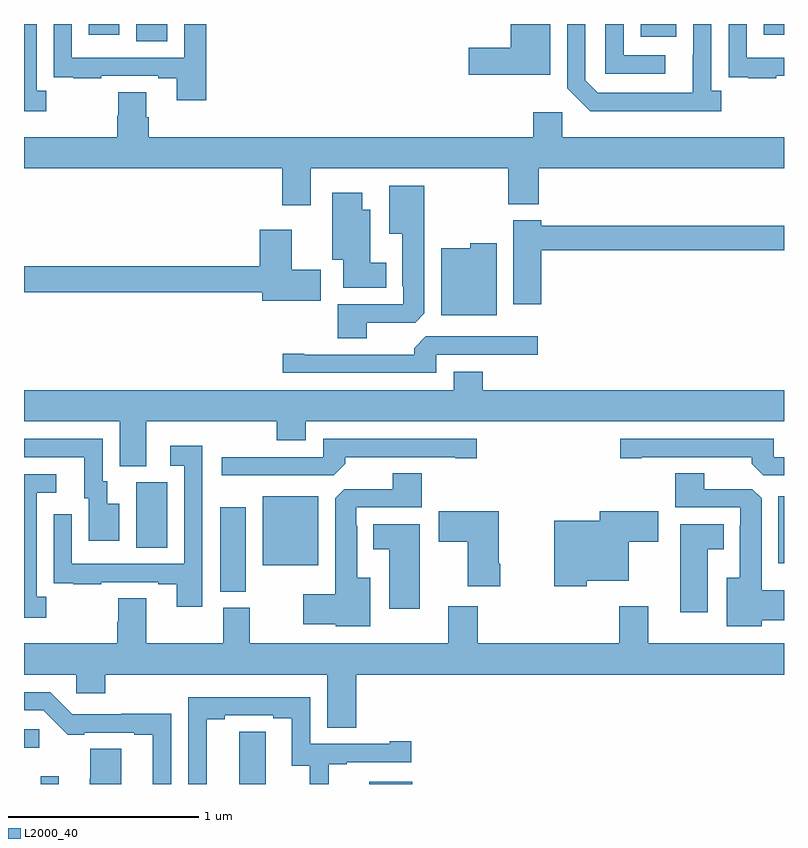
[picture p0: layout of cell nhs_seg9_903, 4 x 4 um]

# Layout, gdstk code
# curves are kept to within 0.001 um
import gdstk
lib = gdstk.Library(unit=1e-6, precision=1e-09)
def R(c, l, rs):  # rectangles x0, y0, x1, y1
    for r in rs: c.add(gdstk.rectangle(r[:2], r[2:], *l))
def P(c, l, *ps):  # polygons
    for p in ps: c.add(gdstk.Polygon(p, *l))
L2000_40 = (2000, 40)

nhs_seg9_903 = lib.new_cell('nhs_seg9_903')
R(nhs_seg9_903, L2000_40, [(159.087,1206.5,159.184,1206.541), (160.817,1206.5,161.044,1206.511), (159,1206.692,159.079,1206.789), (160.034,1207.513,160.168,1207.957), (160.256,1207.652,160.549,1208.014), (162.971,1207.661,163,1208.014), (159.59,1207.744,159.754,1208.088), (159.59,1210.408,159.754,1210.5), (162.245,1210.433,162.433,1210.5), (159.341,1210.443,159.502,1210.5), (162.893,1210.443,163,1210.5)])
P(nhs_seg9_903, L2000_40, [(162.959,1210.227),(163,1210.227),(163,1210.323),(162.804,1210.323),(162.804,1210.5),(162.708,1210.5),(162.708,1210.33),(162.709,1210.33),(162.709,1210.221),(162.811,1210.221),(162.811,1210.215),(162.959,1210.215)],
  [(159.959,1210.5),(159.843,1210.5),(159.843,1210.323),(159.252,1210.323),(159.252,1210.5),(159.156,1210.5),(159.156,1210.33),(159.157,1210.33),(159.157,1210.221),(159.259,1210.221),(159.259,1210.215),(159.407,1210.215),(159.407,1210.227),(159.707,1210.227),(159.707,1210.215),(159.803,1210.215),(159.803,1210.098),(159.959,1210.098)],
  [(159.118,1210.15),(159.066,1210.15),(159.066,1210.5),(159,1210.5),(159,1210.04),(159.118,1210.04)],
  [(162.376,1210.335),(162.156,1210.335),(162.156,1210.5),(162.06,1210.5),(162.06,1210.239),(162.376,1210.239)],
  [(161.77,1210.498),(161.681,1210.498),(161.681,1210.5),(161.563,1210.5),(161.563,1210.376),(161.34,1210.376),(161.34,1210.234),(161.77,1210.234)],
  [(162.67,1210.15),(162.618,1210.15),(162.618,1210.5),(162.522,1210.5),(162.521,1210.137),(162.021,1210.137),(161.955,1210.203),(161.955,1210.5),(161.859,1210.5),(161.859,1210.161),(161.98,1210.04),(162.67,1210.04)],
  [(160.51,1209.74),(161.548,1209.74),(161.548,1209.551),(161.708,1209.551),(161.708,1209.74),(163,1209.74),(163,1209.904),(161.832,1209.904),(161.832,1210.036),(161.681,1210.036),(161.681,1209.904),(159.656,1209.904),(159.656,1210.01),(159.643,1210.01),(159.643,1210.142),(159.496,1210.142),(159.496,1210.017),(159.491,1210.017),(159.491,1209.904),(159,1209.904),(159,1209.74),(160.358,1209.74),(160.358,1209.546),(160.51,1209.546)],
  [(160.804,1208.928),(161.058,1208.928),(161.107,1208.977),(161.107,1209.649),(160.922,1209.649),(160.922,1209.395),(160.991,1209.395),(160.991,1209.121),(160.995,1209.121),(160.995,1209.024),(160.652,1209.024),(160.652,1208.845),(160.804,1208.845)],
  [(160.906,1209.244),(160.822,1209.244),(160.822,1209.523),(160.78,1209.523),(160.78,1209.613),(160.622,1209.613),(160.622,1209.26),(160.679,1209.26),(160.679,1209.113),(160.906,1209.113)],
  [(161.723,1209.31),(163,1209.31),(163,1209.439),(161.723,1209.439),(161.723,1209.466),(161.576,1209.466),(161.576,1209.024),(161.723,1209.024)],
  [(160.561,1209.207),(160.408,1209.207),(160.408,1209.418),(160.241,1209.418),(160.241,1209.224),(159,1209.224),(159,1209.088),(160.253,1209.088),(160.253,1209.044),(160.561,1209.044)],
  [(161.488,1209.346),(161.349,1209.346),(161.349,1209.319),(161.195,1209.319),(161.195,1208.966),(161.488,1208.966)],
  [(161.169,1208.76),(161.704,1208.76),(161.704,1208.856),(161.115,1208.856),(161.054,1208.794),(161.054,1208.76),(160.474,1208.76),(160.474,1208.765),(160.362,1208.765),(160.362,1208.664),(161.169,1208.664)],
  [(161.261,1208.671),(161.261,1208.572),(159,1208.572),(159,1208.408),(159.503,1208.408),(159.503,1208.173),(159.643,1208.173),(159.643,1208.408),(160.331,1208.408),(160.331,1208.309),(160.483,1208.309),(160.483,1208.408),(163,1208.408),(163,1208.572),(161.414,1208.572),(161.414,1208.671)],
  [(159.502,1207.975),(159.439,1207.975),(159.439,1208.094),(159.414,1208.094),(159.414,1208.316),(159,1208.316),(159,1208.22),(159.317,1208.22),(159.317,1208.004),(159.341,1208.004),(159.341,1207.779),(159.502,1207.779)],
  [(163,1208.22),(162.945,1208.22),(162.945,1208.316),(162.138,1208.316),(162.138,1208.215),(162.25,1208.215),(162.25,1208.22),(162.83,1208.22),(162.83,1208.186),(162.891,1208.124),(163,1208.124)],
  [(160.691,1208.186),(160.691,1208.22),(161.27,1208.22),(161.27,1208.215),(161.383,1208.215),(161.383,1208.316),(160.575,1208.316),(160.575,1208.22),(160.041,1208.22),(160.041,1208.124),(160.629,1208.124)],
  [(159.939,1208.281),(159.771,1208.281),(159.771,1208.175),(159.843,1208.175),(159.843,1207.659),(159.252,1207.659),(159.252,1207.921),(159.156,1207.921),(159.156,1207.666),(159.157,1207.666),(159.157,1207.557),(159.259,1207.557),(159.259,1207.551),(159.407,1207.551),(159.407,1207.563),(159.707,1207.563),(159.707,1207.551),(159.803,1207.551),(159.803,1207.434),(159.939,1207.434)],
  [(160.822,1207.585),(160.753,1207.585),(160.753,1207.859),(160.749,1207.859),(160.749,1207.956),(161.093,1207.956),(161.093,1208.135),(160.94,1208.135),(160.94,1208.052),(160.686,1208.052),(160.637,1208.003),(160.637,1207.498),(160.47,1207.498),(160.47,1207.34),(160.641,1207.34),(160.641,1207.331),(160.822,1207.331)],
  [(162.883,1207.361),(163,1207.361),(163,1207.519),(162.883,1207.519),(162.883,1208.003),(162.834,1208.052),(162.58,1208.052),(162.58,1208.135),(162.428,1208.135),(162.428,1207.956),(162.771,1207.956),(162.771,1207.859),(162.767,1207.859),(162.767,1207.585),(162.698,1207.585),(162.698,1207.331),(162.883,1207.331)],
  [(159.118,1207.486),(159.066,1207.486),(159.066,1208.034),(159.169,1208.034),(159.169,1208.13),(159,1208.13),(159,1207.376),(159.118,1207.376)],
  [(161.963,1207.571),(162.184,1207.571),(162.184,1207.774),(162.337,1207.774),(162.337,1207.936),(162.029,1207.936),(162.029,1207.885),(161.792,1207.885),(161.792,1207.541),(161.963,1207.541)],
  [(161.506,1207.659),(161.499,1207.659),(161.499,1207.936),(161.184,1207.936),(161.184,1207.774),(161.336,1207.774),(161.336,1207.541),(161.506,1207.541)],
  [(161.083,1207.867),(160.838,1207.867),(160.838,1207.736),(160.922,1207.736),(160.922,1207.422),(161.083,1207.422)],
  [(162.598,1207.736),(162.682,1207.736),(162.682,1207.867),(162.455,1207.867),(162.455,1207.404),(162.598,1207.404)],
  [(160.748,1207.076),(163,1207.076),(163,1207.24),(162.286,1207.24),(162.286,1207.435),(162.134,1207.435),(162.134,1207.24),(161.387,1207.24),(161.387,1207.435),(161.234,1207.435),(161.234,1207.24),(160.189,1207.24),(160.189,1207.428),(160.049,1207.428),(160.049,1207.24),(159.643,1207.24),(159.643,1207.478),(159.496,1207.478),(159.496,1207.353),(159.491,1207.353),(159.491,1207.24),(159,1207.24),(159,1207.076),(159.276,1207.076),(159.276,1206.978),(159.428,1206.978),(159.428,1207.076),(160.595,1207.076),(160.595,1206.796),(160.748,1206.796)],
  [(159.774,1206.869),(159.511,1206.869),(159.511,1206.867),(159.255,1206.867),(159.138,1206.984),(159,1206.984),(159,1206.888),(159.102,1206.888),(159.23,1206.76),(159.316,1206.76),(159.316,1206.771),(159.581,1206.771),(159.581,1206.759),(159.677,1206.759),(159.677,1206.5),(159.774,1206.5)],
  [(159.961,1206.841),(160.057,1206.841),(160.057,1206.861),(160.313,1206.861),(160.313,1206.846),(160.409,1206.846),(160.409,1206.595),(160.504,1206.595),(160.504,1206.5),(160.604,1206.5),(160.604,1206.603),(160.699,1206.603),(160.699,1206.615),(161.038,1206.615),(161.038,1206.724),(160.925,1206.724),(160.925,1206.711),(160.506,1206.711),(160.506,1206.957),(159.864,1206.957),(159.864,1206.5),(159.961,1206.5)],
  [(160.273,1206.668),(160.272,1206.668),(160.272,1206.776),(160.133,1206.776),(160.133,1206.5),(160.273,1206.5)],
  [(159.511,1206.686),(159.349,1206.686),(159.349,1206.528),(159.347,1206.528),(159.347,1206.5),(159.511,1206.5)])

lib.write_gds('nhs_seg9_903.gds')
